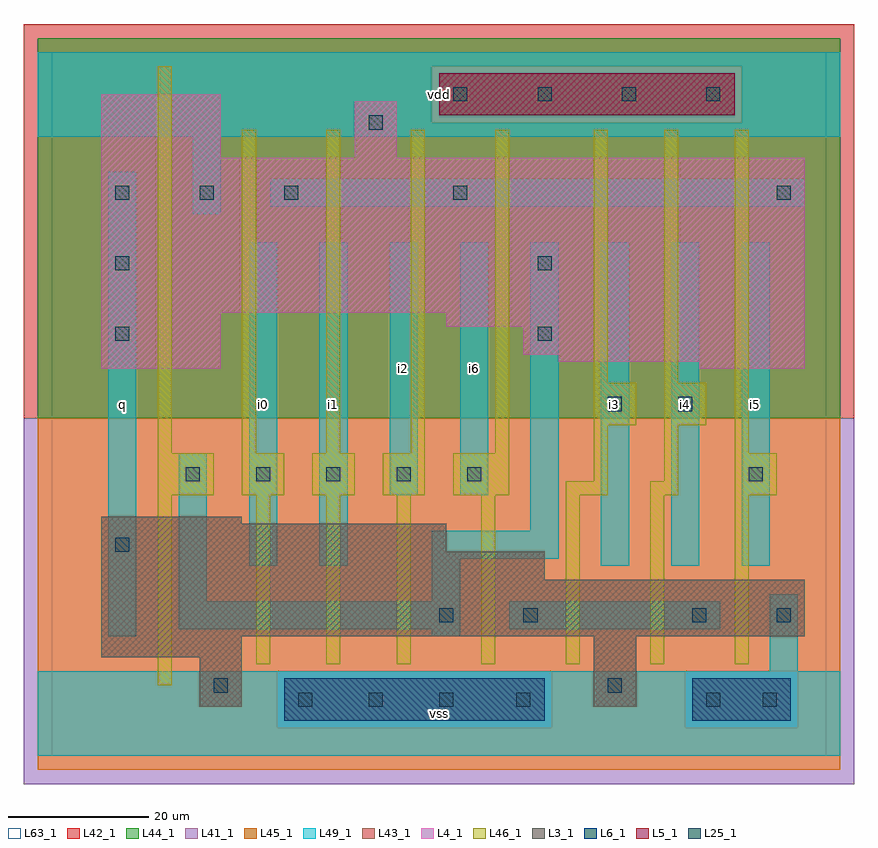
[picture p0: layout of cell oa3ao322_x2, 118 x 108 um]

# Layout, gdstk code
import gdstk
lib = gdstk.Library(unit=1e-6, precision=1e-09)
def R(c, l, rs):  # rectangles x0, y0, x1, y1
    for r in rs: c.add(gdstk.rectangle(r[:2], r[2:], *l))
def A(c, l, x, y, w, h, nx, ny, dx, dy):  # array of equal rectangles
    R(c, l, [(x+i*dx, y+j*dy, x+i*dx+w, y+j*dy+h) for i in range(nx) for j in range(ny)])
L3_1 = (3, 1)
L4_1 = (4, 1)
L5_1 = (5, 1)
L6_1 = (6, 1)
L25_1 = (25, 1)
L41_1 = (41, 1)
L42_1 = (42, 1)
L43_1 = (43, 1)
L44_1 = (44, 1)
L45_1 = (45, 1)
L46_1 = (46, 1)
L49_1 = (49, 1)
L63_1 = (63, 1)

oa3ao322_x2 = lib.new_cell('oa3ao322_x2')
R(oa3ao322_x2, L3_1, [(21,7,27,14), (77,7,83,17), (7,14,27,17), (7,17,107,25), (7,25,70,29), (7,29,56,33), (7,33,27,34)])
R(oa3ao322_x2, L4_1, [(7,55,24,63), (92,55,107,56), (72,56,107,57), (67,57,107,61), (56,61,107,63), (7,63,107,85), (7,85,24,94), (43,85,49,93)])
R(oa3ao322_x2, L5_1, [(55,91,97,97)])
R(oa3ao322_x2, L6_1, [(33,5,70,11), (33,5,70,11), (91,5,105,11), (91,5,105,11)])
A(oa3ao322_x2, L25_1, 35, 7, 2, 2, 3, 1, 10, 0)
A(oa3ao322_x2, L25_1, 19, 39, 2, 2, 5, 1, 10, 0)
A(oa3ao322_x2, L25_1, 9, 79, 2, 2, 3, 1, 12, 0)
A(oa3ao322_x2, L25_1, 57, 93, 2, 2, 4, 1, 12, 0)
R(oa3ao322_x2, L25_1, [(66,7,68,9), (93,7,95,9), (101,7,103,9), (23,9,25,11), (79,9,81,11), (55,19,57,21), (67,19,69,21), (91,19,93,21), (103,19,105,21), (9,29,11,31), (99,39,101,41), (79,49,81,51), (89,49,91,51), (9,59,11,61), (69,59,71,61), (9,69,11,71), (69,69,71,71), (57,79,59,81), (103,79,105,81), (45,89,47,91)])
R(oa3ao322_x2, L41_1, [(-4,-4,114,48)])
R(oa3ao322_x2, L42_1, [(-4,48,114,104)])
R(oa3ao322_x2, L43_1, [(33,5,70,11), (91,5,105,11), (21,7,27,14), (77,7,83,17), (7,14,27,17), (7,17,107,25), (7,25,70,29), (7,29,56,33), (7,33,27,34), (7,55,24,63), (92,55,107,56), (72,56,107,57), (67,57,107,61), (56,61,107,63), (7,63,107,85), (7,85,24,94), (43,85,49,93), (55,91,97,97)])
R(oa3ao322_x2, L44_1, [(32,4,71,12), (90,4,106,12), (-2,48,112,90), (-2,90,54,98), (98,90,112,98), (-2,98,112,102)])
R(oa3ao322_x2, L45_1, [(-2,-2,112,4), (-2,4,32,12), (71,4,90,12), (106,4,112,12), (-2,12,112,48), (54,90,98,98)])
A(oa3ao322_x2, L46_1, 29, 13, 2, 24, 3, 1, 10, 0)
A(oa3ao322_x2, L46_1, 61, 13, 2, 24, 4, 1, 12, 0)
A(oa3ao322_x2, L46_1, 27, 37, 6, 6, 3, 1, 10, 0)
A(oa3ao322_x2, L46_1, 27, 43, 2, 46, 4, 1, 12, 0)
R(oa3ao322_x2, L46_1, [(15,10,17,37), (15,37,23,43), (57,37,65,43), (73,37,79,39), (85,37,89,39), (97,37,103,43), (77,39,79,47), (87,39,89,47), (15,43,17,98), (97,43,99,89), (77,47,83,53), (87,47,93,53), (77,53,79,89), (87,53,89,89)])
A(oa3ao322_x2, L49_1, 78, 27, 4, 46, 3, 1, 10, 0)
R(oa3ao322_x2, L49_1, [(-2,0,112,12), (102,12,106,23), (8,17,12,83), (54,17,58,18), (18,18,58,22), (65,18,95,22), (18,22,22,43), (54,22,58,28), (28,27,32,73), (38,27,42,73), (54,28,72,32), (68,32,72,73), (48,37,52,73), (58,37,62,73), (20,77,24,88), (31,78,107,82), (-2,88,112,100)])
R(oa3ao322_x2, L63_1, [(0,0,110,100)])
oa3ao322_x2.add(gdstk.Label('q', (10,50), layer=49, texttype=1))
oa3ao322_x2.add(gdstk.Label('i0', (30,50), layer=49, texttype=1))
oa3ao322_x2.add(gdstk.Label('i1', (40,50), layer=49, texttype=1))
oa3ao322_x2.add(gdstk.Label('vss', (55,6), layer=49, texttype=1))
oa3ao322_x2.add(gdstk.Label('i6', (60,55), layer=49, texttype=1))
oa3ao322_x2.add(gdstk.Label('i2', (50,55), layer=49, texttype=1))
oa3ao322_x2.add(gdstk.Label('vdd', (55,94), layer=49, texttype=1))
oa3ao322_x2.add(gdstk.Label('i3', (80,50), layer=49, texttype=1))
oa3ao322_x2.add(gdstk.Label('i4', (90,50), layer=49, texttype=1))
oa3ao322_x2.add(gdstk.Label('i5', (100,50), layer=49, texttype=1))

lib.write_gds('oa3ao322_x2.gds')
